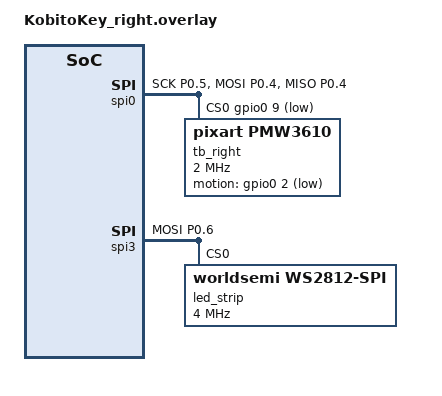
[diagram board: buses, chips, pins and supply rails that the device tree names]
#include <zephyr/dt-bindings/pinctrl/nrf-pinctrl.h>
#include <dt-bindings/led/led.h>
#include "kobitokey.dtsi"
#include <input/processors.dtsi>

/* シリアル通信を無効化 */
&xiao_serial { status = "disabled"; };

/* システムにLEDを認識させる */
/ {
    chosen {
        zmk,underglow = &led_strip;
    };
};

/* 列オフセット */
&default_transform { col-offset = <5>; };

&pinctrl {
    /* トラボ用SPI設定 */
    spi0_default_r: spi0_default_r { group1 {
        psels = <NRF_PSEL(SPIM_SCK,  0, 5)>,
                <NRF_PSEL(SPIM_MOSI, 0, 4)>,
                <NRF_PSEL(SPIM_MISO, 0, 4)>;
    }; };
    spi0_sleep_r: spi0_sleep_r { group1 {
        psels = <NRF_PSEL(SPIM_SCK,  0, 5)>,
                <NRF_PSEL(SPIM_MOSI, 0, 4)>,
                <NRF_PSEL(SPIM_MISO, 0, 4)>;
    }; };

    /* LED用ピン設定 (P0.06) */
    spi3_default: spi3_default {
        group1 {
            psels = <NRF_PSEL(SPIM_MOSI, 0, 6)>;
        };
    };
};

&spi0 {
    status = "okay";
    compatible = "nordic,nrf-spim";
    pinctrl-0 = <&spi0_default_r>;
    pinctrl-1 = <&spi0_sleep_r>;
    pinctrl-names = "default", "sleep";
    cs-gpios = <&gpio0 9 GPIO_ACTIVE_LOW>;
    
    tb_right: trackball@0 {
        status = "okay";
        compatible = "pixart,pmw3610";
        reg = <0>;
        spi-max-frequency = <2000000>;
        
        /* 公式ドライバー仕様に適合 */
        motion-gpios = <&gpio0 2 (GPIO_ACTIVE_LOW | GPIO_PULL_UP)>;
        zephyr,axis-x = <INPUT_REL_X>;
        zephyr,axis-y = <INPUT_REL_Y>;
        res-cpi = <600>;
        smart-mode;
    };
};

&tb_right_split {
    device = <&tb_right>;
    input-processors = <&zip_xy_transform INPUT_TRANSFORM_Y_INVERT>;
};

/* LEDドライバの設定 */
&spi3 {
    compatible = "nordic,nrf-spim";
    status = "okay";
    pinctrl-0 = <&spi3_default>;
    pinctrl-names = "default";

    led_strip: ws2812@0 {
        compatible = "worldsemi,ws2812-spi";
        reg = <0>;
        spi-max-frequency = <4000000>;
        chain-length = <10>; 
        spi-one-frame = <0x70>;
        spi-zero-frame = <0x40>;
        color-mapping = <LED_COLOR_ID_GREEN LED_COLOR_ID_RED LED_COLOR_ID_BLUE>;
    };
};
